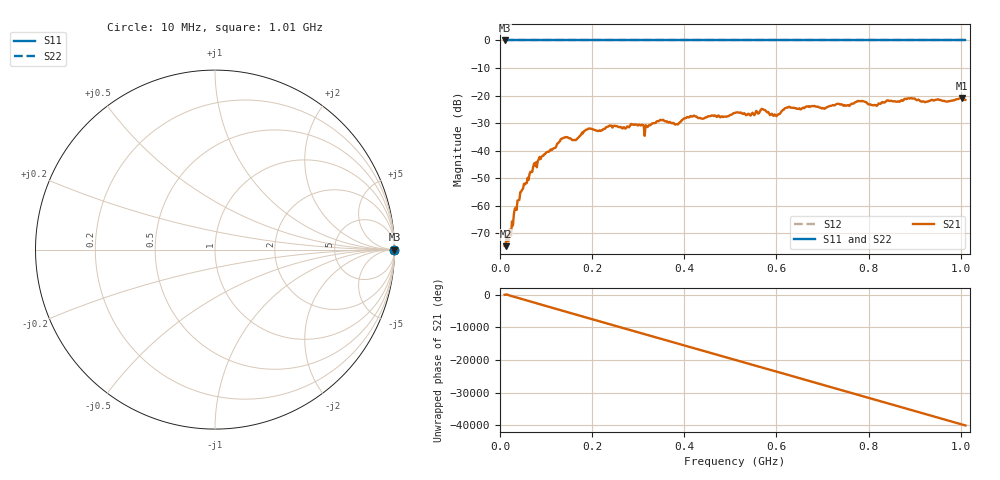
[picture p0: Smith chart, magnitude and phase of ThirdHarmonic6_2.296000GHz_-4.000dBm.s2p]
! 8/17/2025 3:04:54 AM
! C:\ANRITSUVNA\TEMP\TEMP.S2P
! CHANNEL.1
! TR.MEASUREMENT
! RAW.DATA
! RF.CORRECTION.OFF
! AVERAGING.OFF
! IF.BANDWIDTH: 5KHZ
! SWEEPTYPE:  FREQ.SWEEP(Linear)
! Reference Plane Port Info
! PORT:  PORT1  PORT2
! DISTANCE:  0  m  0  m
! TIME:  0  s  0  s
! PHASE.OFFSET:  0  deg.  0  deg.
! LOSS:  0  dB  0  dB
! REF.LOSS:  0  dB  0  dB
! REF.FREQ:  0  Hz  0  Hz
! Power Info
! POWER:  -20  dBm  -20  dBm
! EFF.POWER:  -20  dBm  -20  dBm
! SOURCE.ATTEN:  0  dB  0  dB
! TEST.ATTEN:  0  dB  0  dB
# GHZ S RI R 50.0
! FREQ.GHZ  S11RE  S11IM  S21RE  S21IM  S12RE  S12IM  S22RE  S22IM
!; PortSelection: Port_12
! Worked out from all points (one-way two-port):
!   501 points, 10 MHz to 1.01 GHz, reference 50 ohm
!   highest |S21| = -20.88 dB at 1.002 GHz (marker M1); lowest = -74.7 dB at 12 MHz (marker M2)
!   lowest |S11| = 0.0 dB at 10 MHz (marker M3)
!   |S11| at or under -10 dB: nowhere
!   |S22| runs from 0.0 to 0.0 dB; largest |S21 - S12| = 1.1
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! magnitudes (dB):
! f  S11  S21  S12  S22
! 10 MHz  0.0  -74.6  0.0  0.0
! 12 MHz  0.0  -74.7  0.0  0.0
! 22 MHz  0.0  -68.8  0.0  0.0
! 34 MHz  0.0  -60.7  0.0  0.0
! 48 MHz  0.0  -54.3  0.0  0.0
! 74 MHz  0.0  -44.7  0.0  0.0
! 136 MHz  0.0  -35.6  0.0  0.0
! 162 MHz  0.0  -36.1  0.0  0.0
! 178 MHz  0.0  -33.4  0.0  0.0
! 238 MHz  0.0  -30.9  0.0  0.0
! 318 MHz  0.0  -31.1  0.0  0.0
! 344 MHz  0.0  -29.4  0.0  0.0
! 384 MHz  0.0  -30.4  0.0  0.0
! 416 MHz  0.0  -27.7  0.0  0.0
! 510 MHz  0.0  -26.3  0.0  0.0
! 570 MHz  0.0  -24.9  0.0  0.0
! 598 MHz  0.0  -27.1  0.0  0.0
! 624 MHz  0.0  -24.4  0.0  0.0
! 678 MHz  0.0  -23.8  0.0  0.0
! 844 MHz  0.0  -21.9  0.0  0.0
! 1.002 GHz  0.0  -20.9  0.0  0.0
! 1.01 GHz  0.0  -21.6  0.0  0.0
